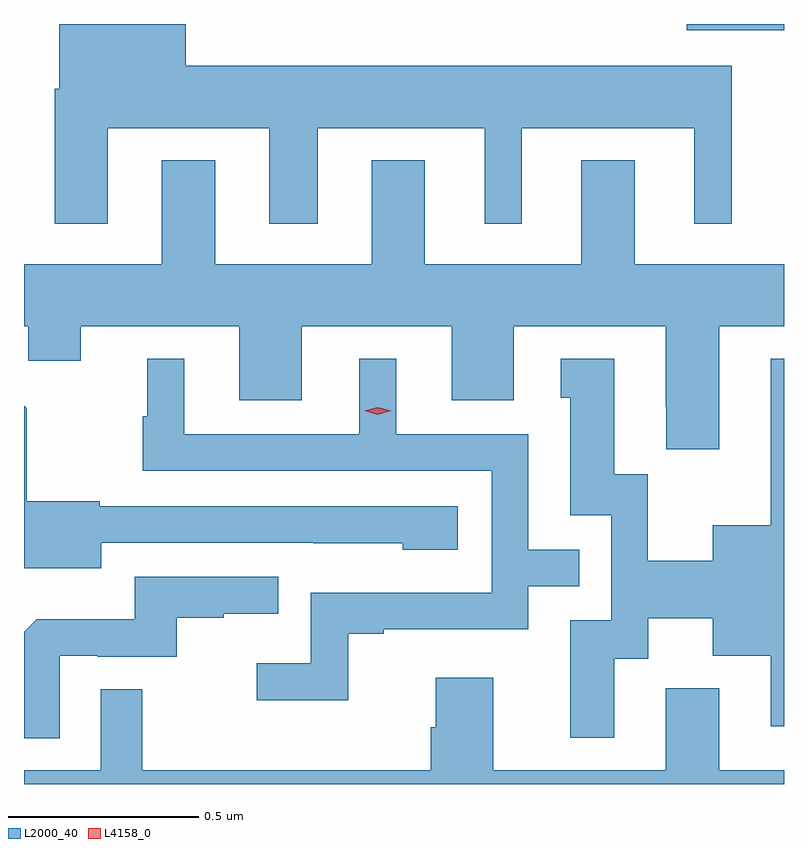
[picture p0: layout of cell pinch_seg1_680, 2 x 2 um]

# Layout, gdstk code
import gdstk
lib = gdstk.Library(unit=1e-6, precision=1e-09)
def R(c, l, rs):  # rectangles x0, y0, x1, y1
    for r in rs: c.add(gdstk.rectangle(r[:2], r[2:], *l))
def P(c, l, *ps):  # polygons
    for p in ps: c.add(gdstk.Polygon(p, *l))
L2000_40 = (2000, 40)
L4158_0 = (4158, 0)

pinch_seg1_680 = lib.new_cell('pinch_seg1_680')
R(pinch_seg1_680, L2000_40, [(784.212,576.488,784.468,576.504)])
P(pinch_seg1_680, L2000_40, [(782.689,576.23),(783.113,576.23),(783.113,575.979),(783.241,575.979),(783.241,576.23),(783.68,576.23),(783.68,575.979),(783.778,575.979),(783.778,576.23),(784.232,576.23),(784.232,575.979),(784.33,575.979),(784.33,576.394),(782.893,576.394),(782.893,576.504),(782.561,576.504),(782.561,576.334),(782.549,576.334),(782.549,575.979),(782.689,575.979)],
  [(783.523,576.145),(783.383,576.145),(783.383,575.872),(782.971,575.872),(782.971,576.145),(782.831,576.145),(782.831,575.872),(782.468,575.872),(782.468,575.708),(782.479,575.708),(782.479,575.618),(782.617,575.618),(782.617,575.708),(783.035,575.708),(783.035,575.514),(783.199,575.514),(783.199,575.708),(783.593,575.708),(783.593,575.514),(783.757,575.514),(783.757,575.708),(784.157,575.708),(784.157,575.497),(784.158,575.497),(784.158,575.385),(784.297,575.385),(784.297,575.708),(784.468,575.708),(784.468,575.872),(784.075,575.872),(784.075,576.145),(783.935,576.145),(783.935,575.872),(783.523,575.872)],
  [(784.021,574.834),(784.111,574.834),(784.111,574.94),(784.28,574.94),(784.28,574.841),(784.433,574.841),(784.433,574.656),(784.468,574.656),(784.468,575.623),(784.433,575.623),(784.433,575.185),(784.28,575.185),(784.28,575.092),(784.11,575.092),(784.11,575.319),(784.021,575.319),(784.021,575.623),(783.881,575.623),(783.881,575.52),(783.905,575.52),(783.905,575.211),(784.014,575.211),(784.014,574.935),(783.905,574.935),(783.905,574.626),(784.021,574.626)],
  [(783.321,574.899),(783.415,574.899),(783.415,574.911),(783.795,574.911),(783.795,575.025),(783.929,575.025),(783.929,575.121),(783.795,575.121),(783.795,575.424),(783.448,575.424),(783.448,575.623),(783.35,575.623),(783.35,575.424),(782.89,575.424),(782.89,575.623),(782.792,575.623),(782.792,575.472),(782.781,575.472),(782.781,575.328),(783.699,575.328),(783.699,575.007),(783.222,575.007),(783.222,574.822),(783.081,574.822),(783.081,574.724),(783.321,574.724)],
  [(782.671,575.139),(783.229,575.139),(783.229,575.138),(783.465,575.138),(783.465,575.12),(783.61,575.12),(783.61,575.235),(782.667,575.235),(782.667,575.248),(782.475,575.248),(782.475,575.493),(782.468,575.5),(782.468,575.072),(782.671,575.072)],
  [(782.562,574.842),(782.662,574.842),(782.662,574.839),(782.87,574.839),(782.87,574.941),(782.993,574.941),(782.993,574.952),(783.137,574.952),(783.137,575.049),(782.76,575.049),(782.76,574.937),(782.501,574.937),(782.469,574.905),(782.469,574.625),(782.562,574.625)],
  [(784.468,574.54),(784.297,574.54),(784.297,574.756),(784.157,574.756),(784.157,574.54),(783.703,574.54),(783.703,574.783),(783.551,574.783),(783.551,574.653),(783.539,574.653),(783.539,574.54),(782.779,574.54),(782.779,574.754),(782.67,574.754),(782.67,574.54),(782.468,574.54),(782.468,574.504),(784.468,574.504)])
P(pinch_seg1_680, L4158_0, [(783.399,575.476),(783.363,575.486),(783.363,575.486),(783.363,575.486),(783.399,575.496),(783.435,575.486),(783.435,575.486),(783.435,575.486)])

lib.write_gds('pinch_seg1_680.gds')
